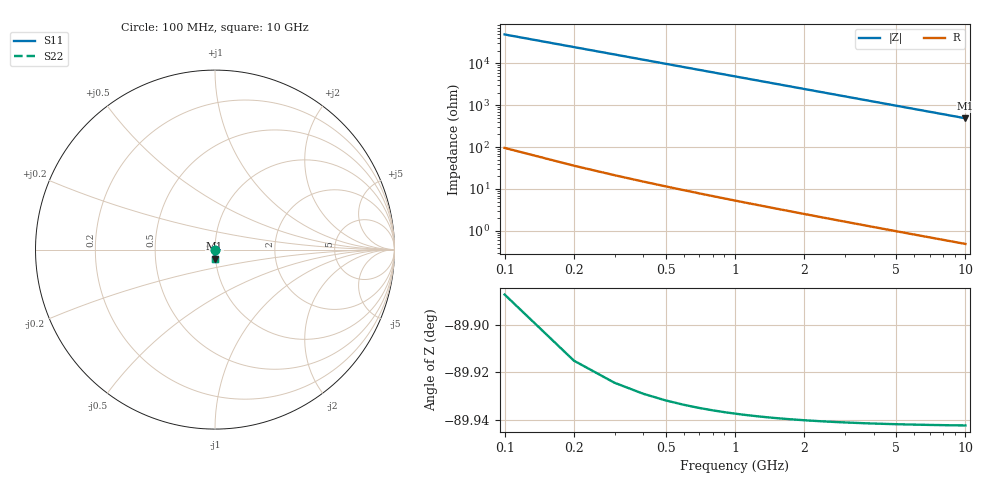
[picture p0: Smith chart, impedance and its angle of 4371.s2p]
# Hz S RI R 50.00
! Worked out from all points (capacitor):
!   100 points, 100 MHz to 10 GHz, reference 50 ohm
!   read as one part in shunt: C = 32.7 fF near 100 MHz
!   lowest |Z| = 488 ohm at 10 GHz (marker M1)
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1e8  2.02e-07 -0.000512  1 -0.000515  1 -0.000515  2.02e-07 -0.000512
2e8  -1.09e-06 -0.00102  1 -0.00103  1 -0.00103  -1.09e-06 -0.00102
3e8  -2.91e-06 -0.00154  1 -0.00154  1 -0.00154  -2.91e-06 -0.00154
4e8  -5.26e-06 -0.00205  1 -0.00206  1 -0.00206  -5.26e-06 -0.00205
5e8  -8.13e-06 -0.00256  1 -0.00257  1 -0.00257  -8.13e-06 -0.00256
6e8  -1.15e-05 -0.00307  1 -0.00309  1 -0.00309  -1.15e-05 -0.00307
7e8  -1.55e-05 -0.00358  1 -0.0036  1 -0.0036  -1.55e-05 -0.00358
8e8  -1.99e-05 -0.00409  1 -0.00412  1 -0.00412  -1.99e-05 -0.00409
9e8  -2.49e-05 -0.0046  1 -0.00463  1 -0.00463  -2.49e-05 -0.0046
1.1e9  -3.65e-05 -0.00563  1 -0.00566  1 -0.00566  -3.65e-05 -0.00563
1.4e9  -5.77e-05 -0.00716  0.9999 -0.00721  0.9999 -0.00721  -5.77e-05 -0.00716
1.8e9  -9.34e-05 -0.00921  0.9999 -0.00927  0.9999 -0.00927  -9.34e-05 -0.00921
2.1e9  -0.000126 -0.0107  0.9999 -0.0108  0.9999 -0.0108  -0.000126 -0.0107
2.5e9  -0.000176 -0.0128  0.9998 -0.0129  0.9998 -0.0129  -0.000176 -0.0128
2.9e9  -0.000235 -0.0148  0.9998 -0.0149  0.9998 -0.0149  -0.000235 -0.0148
3.4e9  -0.00032 -0.0174  0.9997 -0.0175  0.9997 -0.0175  -0.00032 -0.0174
4.2e9  -0.000484 -0.0215  0.9995 -0.0216  0.9995 -0.0216  -0.000484 -0.0215
5.1e9  -0.000708 -0.0261  0.9993 -0.0262  0.9993 -0.0262  -0.000708 -0.0261
5.9e9  -0.000943 -0.0301  0.9991 -0.0303  0.9991 -0.0303  -0.000943 -0.0301
6.7e9  -0.00121 -0.0342  0.9988 -0.0344  0.9988 -0.0344  -0.00121 -0.0342
8.4e9  -0.00189 -0.0428  0.9981 -0.0431  0.9981 -0.0431  -0.00189 -0.0428
1e10  -0.00266 -0.0509  0.9973 -0.0512  0.9973 -0.0512  -0.00266 -0.0509
